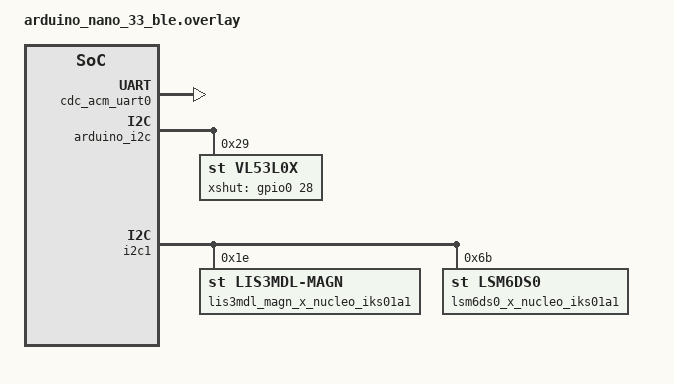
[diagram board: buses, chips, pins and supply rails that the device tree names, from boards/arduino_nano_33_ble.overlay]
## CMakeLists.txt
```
cmake_minimum_required(VERSION 3.13.1)
find_package(Zephyr REQUIRED HINTS $ENV{ZEPHYR_BASE})

project(app LANGUAGES C VERSION 1.0.0)

configure_file(app_version.h.in ${CMAKE_BINARY_DIR}/app/include/app_version.h)
target_include_directories(app PRIVATE ${CMAKE_BINARY_DIR}/app/include src)

target_sources(app PRIVATE
    src/main.c
)
```

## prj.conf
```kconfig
# Increased stack due to settings API usage
CONFIG_SYSTEM_WORKQUEUE_STACK_SIZE=4096
CONFIG_MAIN_STACK_SIZE=4096
CONFIG_PRIVILEGED_STACK_SIZE=4096
CONFIG_BT=y
CONFIG_BT_DEBUG_LOG=y
CONFIG_BT_SMP=y
CONFIG_BT_SIGNING=y
CONFIG_BT_PERIPHERAL=y
CONFIG_BT_DIS=y
CONFIG_BT_ATT_PREPARE_COUNT=5
CONFIG_BT_BAS=y
CONFIG_BT_HRS=y
CONFIG_BT_IAS=y
CONFIG_BT_PRIVACY=y
CONFIG_BT_DEVICE_NAME="Zephyr Peripheral Sample Long Name"
CONFIG_BT_DEVICE_APPEARANCE=833
CONFIG_BT_DEVICE_NAME_DYNAMIC=y
CONFIG_BT_DEVICE_NAME_MAX=65

CONFIG_BT_KEYS_OVERWRITE_OLDEST=y
CONFIG_BT_SETTINGS=y
CONFIG_FLASH=y
CONFIG_FLASH_PAGE_LAYOUT=y
CONFIG_FLASH_MAP=y
CONFIG_NVS=y
CONFIG_SETTINGS=y

CONFIG_SOC_SERIES_NRF52X=y
CONFIG_BOARD_ARDUINO_NANO_33_BLE=y
CONFIG_SOC_NRF52840_QIAA=y

# Enable MPU
CONFIG_ARM_MPU=y
CONFIG_HW_STACK_PROTECTION=y

# enable peripherals
CONFIG_GPIO=y
CONFIG_SERIAL=y

# CDC
CONFIG_USB_DEVICE_STACK=y
CONFIG_USB_CDC_ACM=y
CONFIG_USB_DEVICE_INITIALIZE_AT_BOOT=y
# CONFIG_USB_CDC_ACM_RINGBUF_SIZE=8192
CONFIG_USB_CDC_ACM_RINGBUF_SIZE=4196

# enable console
CONFIG_CONSOLE=y
CONFIG_UART_CONSOLE=y
CONFIG_UART_LINE_CTRL=y

# enable sam-ba bootloader on legacy mode
CONFIG_BOOTLOADER_BOSSA=y
CONFIG_BOOTLOADER_BOSSA_LEGACY=y

# additional board options
CONFIG_GPIO_AS_PINRESET=y

CONFIG_PINCTRL=y

CONFIG_I2C=y
CONFIG_SENSOR=y
CONFIG_VL53L0X=y
CONFIG_VL53L0X_PROXIMITY_THRESHOLD=100
CONFIG_STDOUT_CONSOLE=y
CONFIG_FPU=y
# CONFIG_CBPRINTF_FP_SUPPORT=y
```

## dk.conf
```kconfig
# Increased stack due to settings API usage
CONFIG_SYSTEM_WORKQUEUE_STACK_SIZE=2048
CONFIG_BT=y
CONFIG_BT_DEBUG_LOG=y
CONFIG_BT_SMP=y
CONFIG_BT_SIGNING=y
CONFIG_BT_PERIPHERAL=y
CONFIG_BT_DIS=y
CONFIG_BT_ATT_PREPARE_COUNT=5
CONFIG_BT_BAS=y
CONFIG_BT_HRS=y
CONFIG_BT_IAS=y
CONFIG_BT_PRIVACY=y
CONFIG_BT_DEVICE_NAME="Zephyr Peripheral Sample Long Name"
CONFIG_BT_DEVICE_APPEARANCE=833
CONFIG_BT_DEVICE_NAME_DYNAMIC=y
CONFIG_BT_DEVICE_NAME_MAX=65

CONFIG_BT_KEYS_OVERWRITE_OLDEST=y
CONFIG_BT_SETTINGS=y
# CONFIG_FLASH=y
# CONFIG_FLASH_PAGE_LAYOUT=y
# CONFIG_FLASH_MAP=y
# CONFIG_NVS=y
# CONFIG_SETTINGS=y

CONFIG_SOC_SERIES_NRF52X=y

# Enable MPU
CONFIG_ARM_MPU=y
CONFIG_HW_STACK_PROTECTION=y

# enable peripherals
CONFIG_GPIO=y
CONFIG_PINCTRL=y

CONFIG_I2C=y
CONFIG_SENSOR=y
CONFIG_VL53L0X=y
CONFIG_VL53L0X_PROXIMITY_THRESHOLD=100
CONFIG_STDOUT_CONSOLE=y
# CONFIG_CBPRINTF_FP_SUPPORT=y
```

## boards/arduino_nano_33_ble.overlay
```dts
/ {
     chosen {
             zephyr,console = &cdc_acm_uart0;
     };
};

&zephyr_udc0 {
     cdc_acm_uart0: cdc_acm_uart0 {
             compatible = "zephyr,cdc-acm-uart";
             label = "CDC_ACM_0";
     };
};

&arduino_i2c {
    vl53l0x: vl53l0x@30 {
		compatible = "st,vl53l0x";
		reg = <0x29>;
		xshut-gpios = <&gpio0 28 GPIO_ACTIVE_HIGH>;
	};
};

&i2c1 {
	lis3mdl_magn_x_nucleo_iks01a1: lis3mdl-magn@1e {
		compatible = "st,lis3mdl-magn";
		reg = <0x1e>;
	};

	lsm6ds0_x_nucleo_iks01a1: lsm6ds0@6b {
		compatible = "st,lsm6ds0";
		reg = <0x6b>;
	};
};
```

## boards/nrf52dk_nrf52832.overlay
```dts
&i2c0 {
    vl53l0x: vl53l0x@30 {
		compatible = "st,vl53l0x";
		reg = <0x29>;
		xshut-gpios = <&gpio0 2 GPIO_ACTIVE_HIGH>;
	};
};
```

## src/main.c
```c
/* main.c - Application main entry point */

/*
 * Copyright (c) 2015-2016 Intel Corporation
 *
 * SPDX-License-Identifier: Apache-2.0
 */

#include <zephyr/types.h>
#include <stddef.h>
#include <string.h>
#include <errno.h>
#include <zephyr/sys/printk.h>
#include <zephyr/sys/byteorder.h>
#include <zephyr/kernel.h>

#include <zephyr/settings/settings.h>

#include <zephyr/bluetooth/bluetooth.h>
#include <zephyr/bluetooth/hci.h>
#include <zephyr/bluetooth/conn.h>
#include <zephyr/bluetooth/uuid.h>
#include <zephyr/bluetooth/gatt.h>
#include <zephyr/bluetooth/services/bas.h>
#include <zephyr/bluetooth/services/hrs.h>
#include <zephyr/bluetooth/services/ias.h>

#include <zephyr/usb/usb_device.h>
#include <zephyr/drivers/uart.h>

#include <zephyr/bluetooth/bluetooth.h>
#include <zephyr/bluetooth/hci.h>

#include <zephyr/device.h>
#include <zephyr/drivers/sensor.h>
#include <stdio.h>
#include <zephyr/sys/printk.h>

#include <zephyr/drivers/gpio.h>


#define LED0_NODE DT_ALIAS(led0)
static const struct gpio_dt_spec led = GPIO_DT_SPEC_GET(LED0_NODE, gpios);

/* Custom Service Variables */
#define BT_UUID_CUSTOM_SERVICE_VAL \
    BT_UUID_128_ENCODE(0x12345678, 0x1234, 0x5678, 0x1234, 0x56789abcdef0)

static struct bt_uuid_128 vnd_uuid = BT_UUID_INIT_128(
    BT_UUID_CUSTOM_SERVICE_VAL);

static struct bt_uuid_128 vnd_enc_uuid = BT_UUID_INIT_128(
    BT_UUID_128_ENCODE(0x12345678, 0x1234, 0x5678, 0x1234, 0x56789abcdef1));

const struct device *const dev = DEVICE_DT_GET(DT_CHOSEN(zephyr_console));

#define VND_MAX_LEN 20

static struct bt_conn *default_conn;

#define VND_LONG_MAX_LEN 74

static void pong_ccc_cfg_changed(const struct bt_gatt_attr *attr, uint16_t val)
{
	printk("val %u\n", val);

	// remote_ready = (val == BT_GATT_CCC_NOTIFY);

	// if (remote_ready && remote_handle) {
	// 	pong_conn_ready(initiator);
	// }
}

/* Vendor Primary Service Declaration */
BT_GATT_SERVICE_DEFINE(vnd_svc,
    BT_GATT_PRIMARY_SERVICE(&vnd_uuid),
    BT_GATT_CHARACTERISTIC(&vnd_enc_uuid.uuid,
                   BT_GATT_CHRC_NOTIFY,
                   BT_GATT_PERM_NONE, NULL, NULL, NULL),
	BT_GATT_CCC(pong_ccc_cfg_changed,
		    BT_GATT_PERM_READ | BT_GATT_PERM_WRITE),
);

static const struct bt_data ad[] = {
    BT_DATA_BYTES(BT_DATA_FLAGS, (BT_LE_AD_GENERAL | BT_LE_AD_NO_BREDR)),
    BT_DATA_BYTES(BT_DATA_UUID16_ALL,
              BT_UUID_16_ENCODE(BT_UUID_HRS_VAL),
              BT_UUID_16_ENCODE(BT_UUID_BAS_VAL),
              BT_UUID_16_ENCODE(BT_UUID_CTS_VAL)),
    BT_DATA_BYTES(BT_DATA_UUID128_ALL, BT_UUID_CUSTOM_SERVICE_VAL),
};

void mtu_updated(struct bt_conn *conn, uint16_t tx, uint16_t rx)
{
    printk("Updated MTU: TX: %d RX: %d bytes\n", tx, rx);
}

static struct bt_gatt_cb gatt_callbacks = {
    .att_mtu_updated = mtu_updated
};

static void connected(struct bt_conn *conn, uint8_t err)
{
    if (err) {
        printk("Connection failed (err 0x%02x)\n", err);
    } else {
        printk("Connected\n");
    }

    if (!default_conn) {
		default_conn = bt_conn_ref(conn);
	}
}

static void disconnected(struct bt_conn *conn, uint8_t reason)
{
    printk("Disconnected (reason 0x%02x)\n", reason);

    if (default_conn) {
		bt_conn_unref(default_conn);
		default_conn = NULL;
	}
}

static void alert_stop(void)
{
    printk("Alert stopped\n");
}

static void alert_start(void)
{
    printk("Mild alert started\n");
}

static void alert_high_start(void)
{
    printk("High alert started\n");
}

BT_CONN_CB_DEFINE(conn_callbacks) = {
    .connected = connected,
    .disconnected = disconnected,
};

BT_IAS_CB_DEFINE(ias_callbacks) = {
    .no_alert = alert_stop,
    .mild_alert = alert_start,
    .high_alert = alert_high_start,
};

static void bt_ready(void)
{
    int err;

    printk("Bluetooth initialized\n");

    if (IS_ENABLED(CONFIG_SETTINGS)) {
        settings_load();
    }

    err = bt_le_adv_start(BT_LE_ADV_CONN_NAME, ad, ARRAY_SIZE(ad), NULL, 0);
    if (err) {
        printk("Advertising failed to start (err %d)\n", err);
        return;
    }

    printk("Advertising successfully started\n");
}

static void auth_passkey_display(struct bt_conn *conn, unsigned int passkey)
{
    char addr[BT_ADDR_LE_STR_LEN];

    bt_addr_le_to_str(bt_conn_get_dst(conn), addr, sizeof(addr));

    printk("Passkey for %s: %06u\n", addr, passkey);
}

static void auth_cancel(struct bt_conn *conn)
{
    char addr[BT_ADDR_LE_STR_LEN];

    bt_addr_le_to_str(bt_conn_get_dst(conn), addr, sizeof(addr));

    printk("Pairing cancelled: %s\n", addr);
}

static struct bt_conn_auth_cb auth_cb_display = {
    .passkey_display = auth_passkey_display,
    .passkey_entry = NULL,
    .cancel = auth_cancel,
};

void main(void)
{
    struct bt_gatt_attr *vnd_ind_attr;
    char str[BT_UUID_STR_LEN];
    int err;
    uint32_t dtr = 0;
    const struct device *const dev = DEVICE_DT_GET_ONE(st_vl53l0x);
    struct sensor_value value;
    int ret;

#ifdef CONFIG_BOARD_ARDUINO_NANO_33_BLE
	const struct device *const lis3mdl = DEVICE_DT_GET_ONE(st_lis3mdl_magn);
	const struct device *const lsm6ds0 = DEVICE_DT_GET_ONE(st_lsm6ds0);
	struct sensor_value magn_xyz[3], accel_xyz[3];

    while (!dtr) {
        uart_line_ctrl_get(dev, UART_LINE_CTRL_DTR, &dtr);
        k_sleep(K_MSEC(100));
    }
    if (!device_is_ready(lis3mdl)) {
		printk("%s: device not ready.\n", lis3mdl->name);
		return;
	}
	if (!device_is_ready(lsm6ds0)) {
		printk("%s: device not ready.\n", lsm6ds0->name);
		return;
	}

#endif

    err = bt_enable(NULL);
    if (err) {
        printk("Bluetooth init failed (err %d)\n", err);
        return;
    }

    bt_ready();

    bt_gatt_cb_register(&gatt_callbacks);
    bt_conn_auth_cb_register(&auth_cb_display);

    vnd_ind_attr = bt_gatt_find_by_uuid(vnd_svc.attrs, vnd_svc.attr_count,
                        &vnd_enc_uuid.uuid);

    bt_uuid_to_str(&vnd_enc_uuid.uuid, str, sizeof(str));
    printk("Indicate VND attr %p (UUID %s)\n", vnd_ind_attr, str);

    if (!device_is_ready(dev)) {
        printk("sensor: device not ready.\n");
        return;
    }

    gpio_pin_configure_dt(&led, GPIO_OUTPUT_ACTIVE);

    /* Implement notification. At the moment there is no suitable way
     * of starting delayed work so we do it here
     */
    int k = 10;
    char string[256] = {};
    while (1) {
        k_sleep(K_MSEC(100));
        if(!k--) {
            gpio_pin_toggle_dt(&led);
            k = 10;
        }

        ret = sensor_sample_fetch(dev);
        if (ret) {
            printk("sensor_sample_fetch failed ret %d\n", ret);
            return;
        }
        if (sensor_sample_fetch(lis3mdl) < 0) {
			printk("LIS3MDL Sensor sample update error\n");
			return;
		}
        if (sensor_sample_fetch(lsm6ds0) < 0) {
			printk("LSM6DS0 Sensor sample update error\n");
			return;
		}

        ret = sensor_channel_get(dev, SENSOR_CHAN_PROX, &value);
        ret = sensor_channel_get(dev,
                     SENSOR_CHAN_DISTANCE,
                     &value);

		sensor_channel_get(lis3mdl, SENSOR_CHAN_MAGN_XYZ, magn_xyz);
		sensor_channel_get(lsm6ds0, SENSOR_CHAN_ACCEL_XYZ, accel_xyz);

        float val = sensor_value_to_double(&value);
        uint16_t valint = val * 10000;

        printk("distance is %d\n", valint);

        /* magneto data */
		sprintf(
            string,
		    "LIS3MDL: Magnetic field (gauss): x: %f, y: %f, z: %f\n",
		    sensor_value_to_double(&magn_xyz[0]),
		    sensor_value_to_double(&magn_xyz[1]),
		    sensor_value_to_double(&magn_xyz[2]));

        printk(string);

		/* acceleration */
		// printk(
		//    "LSM6DS0: Acceleration (m.s-2): x: %f, y: %f, z: %f\n",
		//    sensor_value_to_double(&accel_xyz[0]),
		//    sensor_value_to_double(&accel_xyz[1]),
		//    sensor_value_to_double(&accel_xyz[2]));

        /* Heartrate measurements simulation */
        bt_hrs_notify(69);

        // ind_params.attr = vnd_ind_attr;
        // ind_params.func = indicate_cb;
        // ind_params.destroy = indicate_destroy;
        // ind_params.data = &valint;
        // ind_params.len = sizeof(valint);

        // bt_gatt_indicate(NULL, &ind_params);
        ret = bt_gatt_notify(default_conn, &vnd_svc.attrs[1], &valint, sizeof(valint));
        if(ret) {
            printk("%d\n", ret);
        }
    }
}
```
